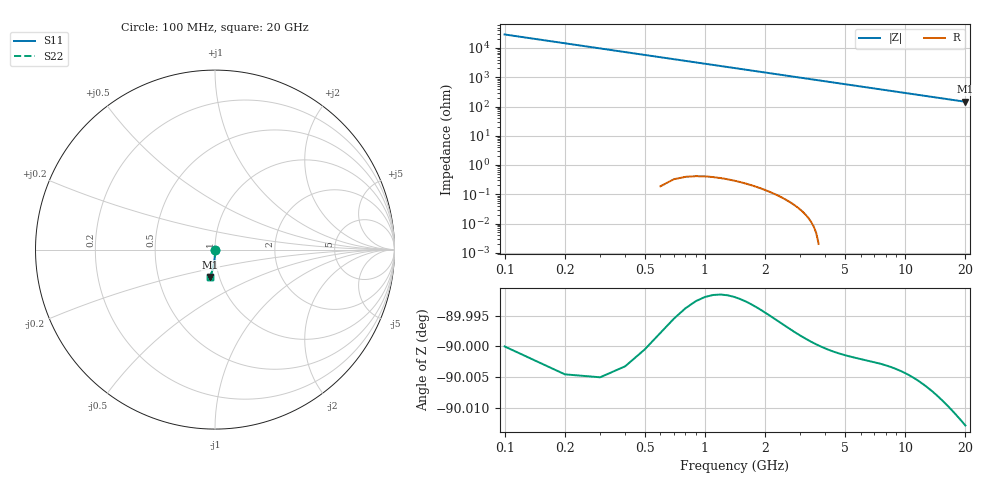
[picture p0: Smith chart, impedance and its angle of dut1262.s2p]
! Touchstone file exported from HFSS 2026.1.0
!  File:  C:/ffzhzh/LocalFiles/Ansys_Project_Files/temp_train_TSV_1262_1783193927_51560.aedt
!  Generated:  03:40:00 AM Jul  5, 2026
!  Design:  TSV
!  Project:  temp_train_TSV_1262_1783193927_51560
! Variables:
!  h_bsmrdl = 2um
!  h_ox = 20um
!  h_rdl = 5um
!  h_sub = 61.92um
!  h_tmrdl = 5um
!  h_tsv = 61.92um
!  h_via = 3um
!  l_bsmrdl = 300um
!  l_sub = 419.96um
!  l_tmrdl = 200um
!  m_sub = 200um
!  pitch = 21.27um
!  r_tsv = 9.98um
!  s_tmrdl = 10um
!  w_bsmrdl = 18um
!  w_sub = 500um
!  w_tmrdl = 12um
!  x_tsv_center1 = 206um
!  x_tsv_center2 = 524um
!  x_tsv_center3 = 736um
!  x_tsv_center4 = 1054um
!  x_tsv_center5 = 1266um
!  x_tsv_center6 = 1584um
# GHz S MA R 50.000000
! Terminal data exported
! Port[1] = TSV1_1_T1
! Port[2] = TSV1_1_T2
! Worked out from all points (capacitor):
!   200 points, 100 MHz to 20 GHz, reference 50 ohm
!   read as one part in shunt: C = 54.8 fF near 200 MHz
!   lowest |Z| = 145 ohm at 20 GHz (marker M1)
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0.1  0.0007244 -79.8  0.9999 -0.1  0.9999 -0.1  0.0007244 -79.8
! Gamma 0 0 0 0
! Port Impedance 50 0 50 0
0.2  0.001442 -83.9  0.9998 -0.1  0.9998 -0.1  0.001442 -83.9
0.3  0.002176 -85.1  0.9998 -0.2  0.9998 -0.2  0.002176 -85.1
0.4  0.002924 -85.7  0.9998 -0.2  0.9998 -0.2  0.002924 -85.7
0.5  0.003683 -86.1  0.9997 -0.3  0.9997 -0.3  0.003683 -86.1
0.7  0.005222 -86.7  0.9996 -0.4  0.9996 -0.4  0.005222 -86.7
0.8  0.005997 -87.0  0.9996 -0.4  0.9996 -0.4  0.005997 -87.0
1  0.007552 -87.5  0.9996 -0.6  0.9996 -0.6  0.007552 -87.5
1.2  0.009108 -87.9  0.9995 -0.7  0.9995 -0.7  0.009108 -87.9
1.4  0.01066 -88.2  0.9995 -0.8  0.9995 -0.8  0.01066 -88.2
1.7  0.013 -88.7  0.9994 -0.9  0.9994 -0.9  0.013 -88.7
2  0.01533 -89.1  0.9993 -1.1  0.9993 -1.1  0.01533 -89.1
2.7  0.02077 -89.8  0.9992 -1.5  0.9992 -1.5  0.02077 -89.8
3.5  0.027 -90.4  0.9989 -1.9  0.9989 -1.9  0.027 -90.4
4.2  0.03246 -90.9  0.9987 -2.3  0.9987 -2.3  0.03246 -90.9
5  0.03871 -91.4  0.9984 -2.7  0.9984 -2.7  0.03871 -91.4
6.8  0.05277 -92.5  0.9975 -3.7  0.9975 -3.7  0.05277 -92.5
8.3  0.06449 -93.4  0.9967 -4.5  0.9967 -4.5  0.06449 -93.4
10.1  0.07853 -94.5  0.9956 -5.4  0.9956 -5.4  0.07853 -94.5
13.4  0.1041 -96.3  0.993 -7.2  0.993 -7.2  0.1041 -96.3
16.7  0.1295 -98.2  0.9898 -8.9  0.9898 -8.9  0.1295 -98.2
20  0.1546 -99.9  0.986 -10.7  0.986 -10.7  0.1546 -99.9
